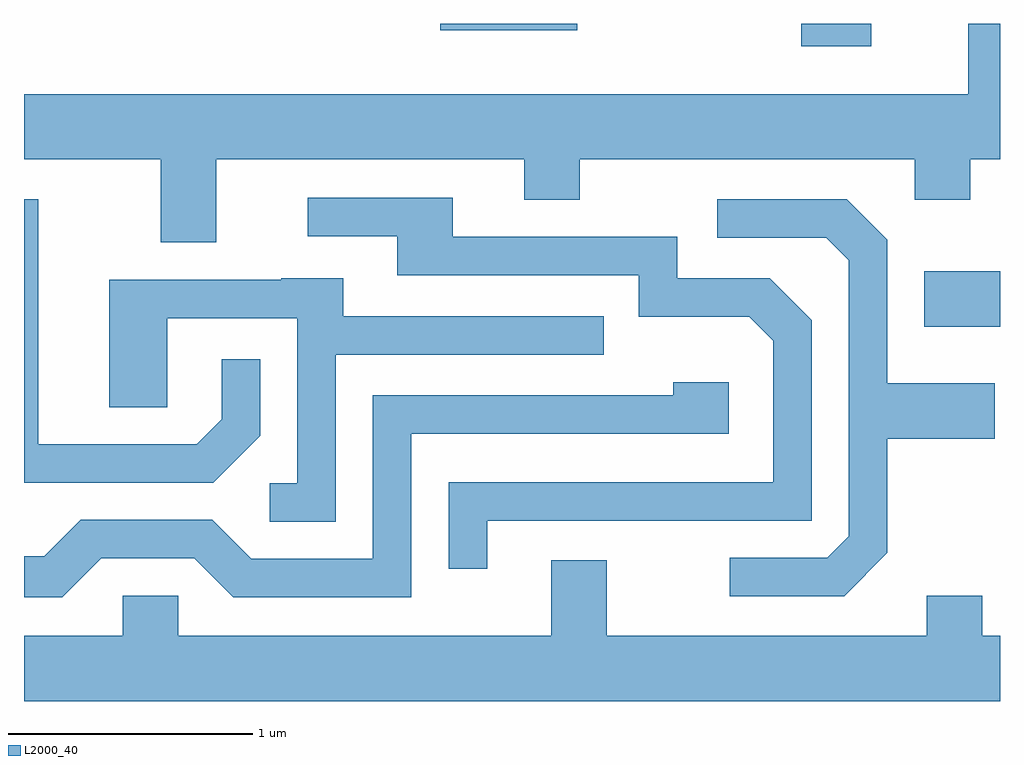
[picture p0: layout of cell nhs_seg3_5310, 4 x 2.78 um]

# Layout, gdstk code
import gdstk
lib = gdstk.Library(unit=1e-6, precision=1e-09)
def R(c, l, rs):  # rectangles x0, y0, x1, y1
    for r in rs: c.add(gdstk.rectangle(r[:2], r[2:], *l))
def P(c, l, *ps):  # polygons
    for p in ps: c.add(gdstk.Polygon(p, *l))
L2000_40 = (2000, 40)

nhs_seg3_5310 = lib.new_cell('nhs_seg3_5310')
R(nhs_seg3_5310, L2000_40, [(345.301,1138.651,345.611,1138.879), (344.796,1139.801,345.084,1139.892), (343.316,1139.866,343.878,1139.892)])
P(nhs_seg3_5310, L2000_40, [(342.399,1139.336),(343.661,1139.336),(343.661,1139.171),(343.889,1139.171),(343.889,1139.336),(345.261,1139.336),(345.261,1139.171),(345.489,1139.171),(345.489,1139.336),(345.611,1139.336),(345.611,1139.892),(345.481,1139.892),(345.481,1139.604),(341.611,1139.604),(341.611,1139.336),(342.171,1139.336),(342.171,1138.996),(342.399,1138.996)],
  [(343.509,1137.856),(344.839,1137.856),(344.839,1138.677),(344.667,1138.849),(344.289,1138.849),(344.289,1139.019),(343.369,1139.019),(343.369,1139.179),(342.773,1139.179),(342.773,1139.021),(343.141,1139.021),(343.141,1138.861),(344.131,1138.861),(344.131,1138.691),(344.584,1138.691),(344.681,1138.594),(344.681,1138.014),(343.351,1138.014),(343.351,1137.658),(343.509,1137.658)],
  [(342.579,1138.204),(342.579,1138.518),(342.421,1138.518),(342.421,1138.272),(342.319,1138.169),(341.669,1138.169),(341.669,1139.174),(341.611,1139.174),(341.611,1138.011),(342.387,1138.011)],
  [(345.149,1137.724),(345.149,1138.191),(345.589,1138.191),(345.589,1138.419),(345.149,1138.419),(345.149,1139.007),(344.982,1139.174),(344.453,1139.174),(344.453,1139.016),(344.899,1139.016),(344.991,1138.924),(344.991,1137.792),(344.904,1137.704),(344.503,1137.704),(344.503,1137.546),(344.972,1137.546)],
  [(342.889,1138.536),(343.988,1138.536),(343.988,1138.694),(342.919,1138.694),(342.919,1138.849),(342.665,1138.849),(342.665,1138.844),(341.961,1138.844),(341.961,1138.321),(342.199,1138.321),(342.199,1138.686),(342.731,1138.686),(342.731,1138.009),(342.618,1138.009),(342.618,1137.851),(342.889,1137.851)],
  [(341.927,1137.701),(342.309,1137.701),(342.469,1137.541),(343.199,1137.541),(343.199,1138.211),(344.499,1138.211),(344.499,1138.424),(344.271,1138.424),(344.271,1138.369),(343.041,1138.369),(343.041,1137.699),(342.542,1137.699),(342.382,1137.859),(341.844,1137.859),(341.694,1137.709),(341.611,1137.709),(341.611,1137.541),(341.767,1137.541)],
  [(345.611,1137.384),(345.539,1137.384),(345.539,1137.549),(345.311,1137.549),(345.311,1137.384),(343.999,1137.384),(343.999,1137.694),(343.771,1137.694),(343.771,1137.384),(342.244,1137.384),(342.244,1137.549),(342.016,1137.549),(342.016,1137.384),(341.611,1137.384),(341.611,1137.116),(345.611,1137.116)])

lib.write_gds('nhs_seg3_5310.gds')
